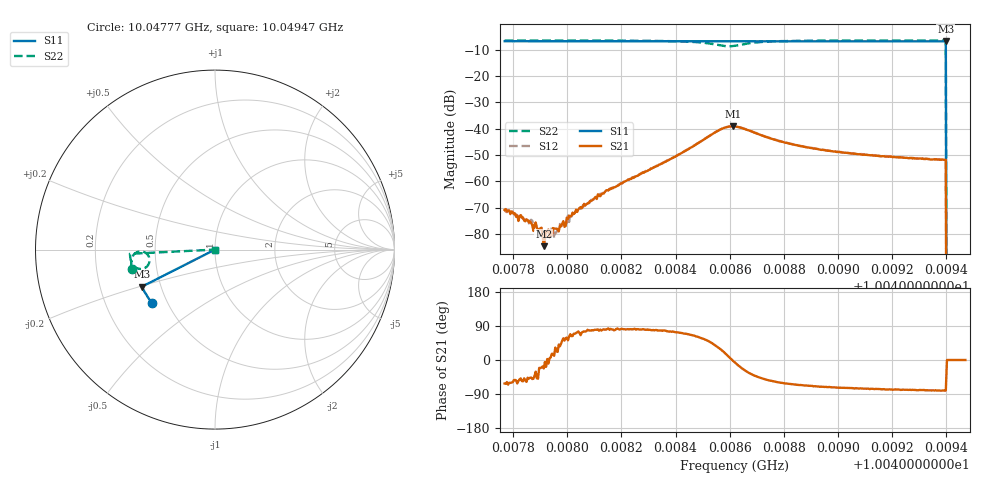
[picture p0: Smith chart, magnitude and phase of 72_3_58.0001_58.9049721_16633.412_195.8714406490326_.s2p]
#  HZ  S  RI  R  50.00
! Rohde & Schwarz Vector Network Analyzer
! Rohde-Schwarz,ZNB20-2Port,1311601062101988,3.16
! Created: UTC 3/21/2024, 12:53:27 AM
! freq[Hz]  re:S11  im:S11  re:S21  im:S21  re:S12  im:S12  re:S22  im:S22
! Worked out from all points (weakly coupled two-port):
!   401 points, 10.04777 GHz to 10.04947 GHz, reference 50 ohm
!   highest |S21| = -39.12 dB at 10.04861 GHz (marker M1); lowest = -84.7 dB at 10.04791 GHz (marker M2)
!   lowest |S11| = -6.8 dB at 10.0494 GHz (marker M3), VSWR 2.68, Z = 19.5 - j10.2 ohm
!   |S11| at or under -10 dB: 10.0494 GHz to end of sweep
!   |S22| runs from - to -6.5 dB; largest |S21 - S12| = 0.00078
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1.0047768e10  -0.3505 -0.2978  0.000132 -0.00025  0.00018 -0.000249  -0.4634 -0.1067
1.0047832e10  -0.3529 -0.2943  0.000116 -0.000169  0.000136 -0.000151  -0.4641 -0.1018
1.0047849e10  -0.3538 -0.2934  0.000101 -0.00016  0.000118 -0.000121  -0.4643 -0.1003
1.0047866e10  -0.3545 -0.2925  0.000112 -0.000117  0.000141 -0.000121  -0.4646 -0.099
1.0047905e10  -0.356 -0.2905  0.000123 -4.41e-05  8.52e-05 -3.98e-05  -0.465 -0.0957
1.0047913e10  -0.3565 -0.29  5.39e-05 -2.22e-05  9.82e-05 -4.68e-05  -0.4651 -0.0952
1.0047939e10  -0.3575 -0.2886  0.000103 1.23e-05  0.000104 4.17e-06  -0.4654 -0.093
1.004796e10  -0.3583 -0.2875  0.000115 4.97e-05  8.36e-05 6.58e-05  -0.4656 -0.0912
1.004802e10  -0.3606 -0.2843  0.000114 0.000227  6.5e-05 0.000222  -0.4661 -0.086
1.0048054e10  -0.362 -0.2824  9.14e-05 0.000292  5.01e-05 0.000305  -0.4664 -0.0829
1.0048122e10  -0.3647 -0.2789  8.84e-05 0.000512  4.67e-05 0.000576  -0.4666 -0.0762
1.0048339e10  -0.373 -0.2668  0.000427 0.00203  0.000322 0.00204  -0.4632 -0.0486
1.004856e10  -0.3801 -0.2542  0.00794 0.00494  0.00762 0.00541  -0.3875 -0.0172
1.0048611e10  -0.3814 -0.2518  0.0111 -0.000266  0.0111 0.00048  -0.3655 -0.0684
1.004862e10  -0.382 -0.2514  0.0109 -0.00135  0.011 -0.000584  -0.3684 -0.078
1.0048781e10  -0.388 -0.2428  0.00297 -0.00499  0.00336 -0.00486  -0.4514 -0.0921
1.0048905e10  -0.3923 -0.2356  0.00158 -0.00395  0.00182 -0.00392  -0.4649 -0.0717
1.004919e10  -0.4013 -0.219  0.000642 -0.00288  0.000805 -0.00284  -0.4725 -0.0408
1.004939e10  -0.4073 -0.2071  0.000435 -0.00253  0.000547 -0.00251  -0.4741 -0.0242
1.0049399e10  -0.4075 -0.2065  0.000412 -0.00251  0.00055 -0.00251  -0.4741 -0.0235
1.0049411e10  0 0  0 0  0 0  0 0
1.0049471e10  0 0  0 0  0 0  0 0
